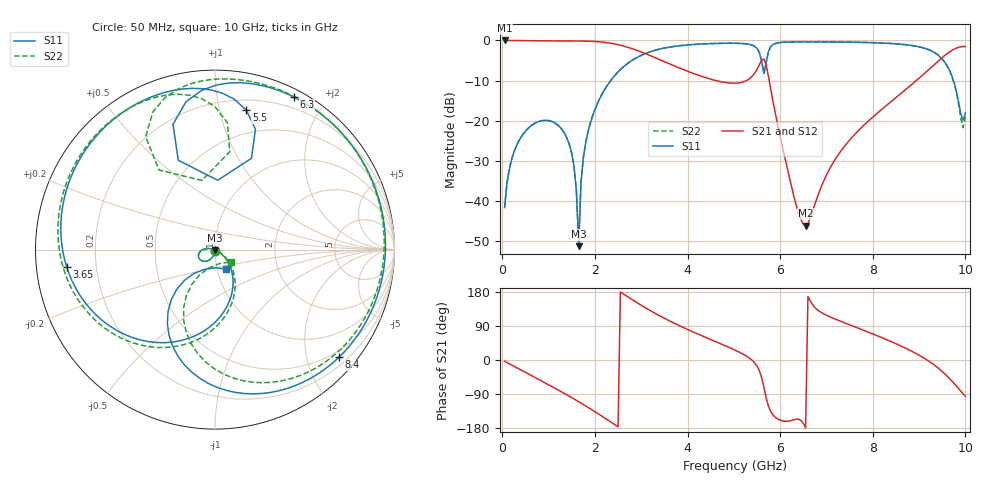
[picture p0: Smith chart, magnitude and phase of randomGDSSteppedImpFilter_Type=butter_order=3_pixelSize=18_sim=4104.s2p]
! freq	dB(S11)	phase(S11)	dB(S12)	phase(S12)
!  dB(S21)	phase(S21)	dB(S22)	phase(S22)
!S-par simulation data
#  GHz  S  DB  R 50
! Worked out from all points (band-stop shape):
!   200 points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, 50 MHz to 10 GHz, reference 50 ohm
!   highest |S21| = -0.01 dB at 50 MHz (marker M1); lowest = -46.1 dB at 6.55 GHz (marker M2)
!   |S21| within 3 dB of the highest: start of sweep to 3.029 GHz; 9.638 GHz to end of sweep
!   lowest |S11| = -51.2 dB at 1.65 GHz (marker M3), VSWR 1.01, Z = 50 - j0.274 ohm
!   |S11| at or under -10 dB: start of sweep to 2.341 GHz; 9.741 GHz to end of sweep
!   |S22| runs from -50.5 to -0.4 dB; largest |S21 - S12| = 0
!   S11 on the Smith chart (normalised r, x): 50 MHz: 1.00, -0.02; 3.65 GHz: 0.09, -0.06; 5.5 GHz: 0.28, +1.21; 6.3 GHz: 0.08, +1.64; 8.4 GHz: 0.36, -2.63; 10 GHz: 1.11, -0.24
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0.05  -41.62 -90.9  -0.01 -3.3  -0.01 -3.3  -41.62 -90.8
0.35  -25.19 -113.3  -0.05 -22.9  -0.05 -22.9  -25.19 -112.8
1.1  -20.32 -163.3  -0.13 -72.0  -0.13 -72.0  -20.33 -161.5
1.5  -28.15 170.5  -0.13 -99.4  -0.13 -99.4  -28.17 173.3
1.6  -37.41 168.0  -0.13 -106.5  -0.13 -106.5  -37.48 171.9
1.65  -51.22 -84.7  -0.14 -110.1  -0.14 -110.1  -50.46 -81.8
1.75  -29.27 -32.9  -0.15 -117.4  -0.15 -117.4  -29.21 -30.5
2.45  -8.46 -85.9  -0.94 -172.4  -0.94 -172.4  -8.45 -81.8
3.4  -2.15 -157.5  -4.79 116.5  -4.79 116.5  -2.14 -151.2
3.65  -1.60 -173.4  -6.03 100.8  -6.03 100.8  -1.59 -166.3
5.05  -0.72 110.1  -10.64 24.7  -10.64 24.7  -0.71 121.3
5.5  -1.98 77.3  -7.22 -16.0  -7.22 -16.0  -1.96 90.1
5.65  -8.26 87.8  -4.62 -72.3  -4.62 -72.3  -8.13 100.8
5.75  -2.66 108.5  -9.13 -122.8  -9.13 -122.8  -2.64 121.6
6.3  -0.38 62.7  -39.02 -157.6  -39.02 -157.6  -0.37 77.5
6.55  -0.36 49.6  -46.07 -178.9  -46.07 -178.9  -0.36 65.0
6.7  -0.36 42.1  -42.47 146.3  -42.47 146.3  -0.35 57.8
8.35  -0.74 -38.4  -15.67 51.0  -15.67 51.0  -0.71 -21.6
8.4  -0.77 -41.0  -15.20 48.4  -15.20 48.4  -0.74 -24.2
9.05  -1.74 -78.5  -8.88 9.2  -8.88 9.2  -1.70 -62.7
9.55  -5.36 -118.4  -3.77 -36.1  -3.77 -36.1  -5.35 -104.3
10  -18.01 -59.6  -1.50 -95.7  -1.50 -95.7  -19.03 -38.0
